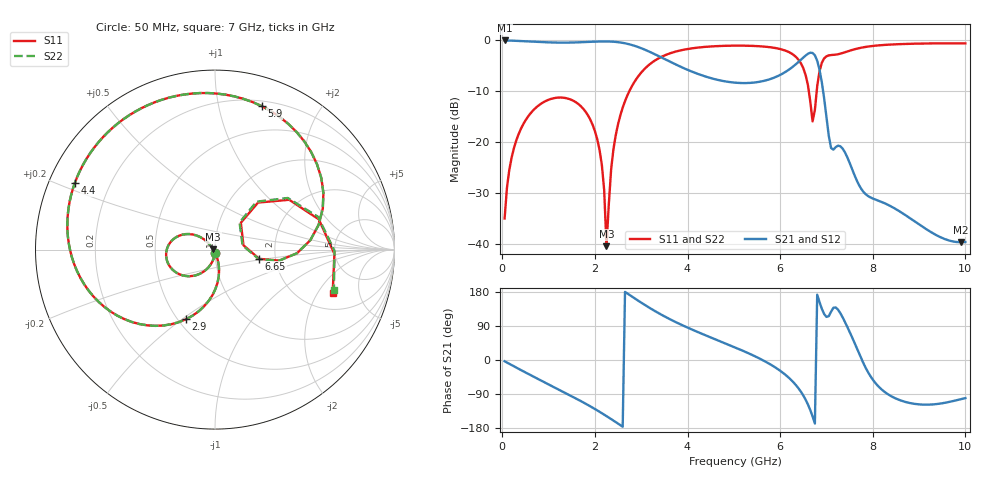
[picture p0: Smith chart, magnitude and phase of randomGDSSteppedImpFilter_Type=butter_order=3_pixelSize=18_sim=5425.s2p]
! freq	dB(S11)	phase(S11)	dB(S12)	phase(S12)
!  dB(S21)	phase(S21)	dB(S22)	phase(S22)
!S-par simulation data
#  GHz  S  DB  R 50
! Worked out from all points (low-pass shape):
!   200 points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, 50 MHz to 10 GHz, reference 50 ohm
!   highest |S21| = -0.01 dB at 50 MHz (marker M1); lowest = -39.6 dB at 9.9 GHz (marker M2)
!   |S21| within 3 dB of the highest: start of sweep to 3.361 GHz; 6.544 GHz to 6.754 GHz (209.7 MHz wide, 3.15 % of centre)
!   lowest |S11| = -40.4 dB at 2.25 GHz (marker M3), VSWR 1.02, Z = 49.1 + j0.0635 ohm
!   |S11| at or under -10 dB: start of sweep to 2.742 GHz; 6.619 GHz to 6.789 GHz (170.3 MHz wide, 2.54 % of centre)
!   |S22| runs from -40.4 to -0.6 dB; largest |S21 - S12| = 0
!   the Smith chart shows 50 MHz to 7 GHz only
!   S11 on the Smith chart (normalised r, x): 50 MHz: 1.00, -0.04; 2.9 GHz: 0.55, -0.52; 4.4 GHz: 0.08, +0.23; 5.9 GHz: 0.25, +1.35; 6.65 GHz: 1.64, -0.18; 7 GHz: 2.92, -2.72
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0.05  -34.97 -90.4  -0.01 -3.3  -0.01 -3.3  -34.97 -90.4
0.2  -23.06 -102.9  -0.05 -13.3  -0.05 -13.3  -23.06 -102.9
0.55  -15.03 -126.4  -0.20 -36.0  -0.20 -36.0  -15.03 -126.4
1.75  -13.44 158.5  -0.35 -111.9  -0.35 -111.9  -13.44 158.5
2.1  -21.49 137.0  -0.22 -136.6  -0.22 -136.6  -21.49 137.0
2.25  -40.39 176.1  -0.21 -148.0  -0.21 -148.0  -40.42 176.0
2.45  -18.59 -78.8  -0.30 -163.9  -0.30 -163.9  -18.59 -78.8
2.9  -7.51 -112.7  -1.20 159.3  -1.20 159.3  -7.51 -112.7
3.4  -3.40 -149.3  -3.19 121.9  -3.19 121.9  -3.40 -149.3
4.4  -1.26 154.5  -7.13 64.6  -7.13 64.6  -1.26 154.5
5.05  -1.03 122.6  -8.32 32.0  -8.32 32.0  -1.03 122.6
5.9  -1.50 72.1  -7.21 -20.0  -7.21 -20.0  -1.50 72.1
6.35  -3.33 27.6  -4.60 -67.7  -4.60 -67.7  -3.33 27.7
6.65  -11.97 -11.8  -2.42 -132.0  -2.42 -132.0  -12.05 -12.2
6.7  -15.90 8.6  -2.47 -148.8  -2.47 -148.8  -16.17 8.6
6.85  -6.06 33.9  -5.76 152.7  -5.76 152.7  -6.07 35.3
7  -3.12 -20.1  -15.02 113.7  -15.02 113.7  -3.11 -18.6
7.25  -2.72 -101.6  -20.67 132.8  -20.67 132.8  -2.73 -100.2
7.55  -1.89 -172.9  -25.18 60.8  -25.18 60.8  -1.91 -172.0
8.35  -0.84 100.8  -32.38 -92.1  -32.38 -92.1  -0.84 101.2
9.9  -0.58 27.0  -39.62 -103.5  -39.62 -103.5  -0.58 27.2
10  -0.59 23.3  -39.58 -100.6  -39.58 -100.6  -0.59 23.5
